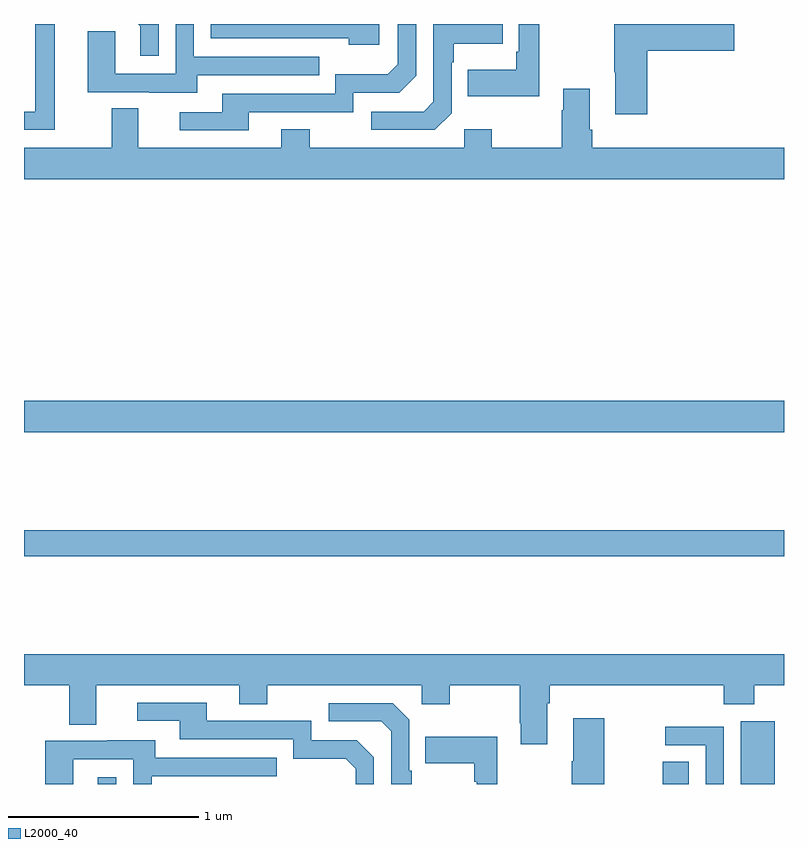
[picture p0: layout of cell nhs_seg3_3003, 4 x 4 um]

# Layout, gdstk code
import gdstk
lib = gdstk.Library(unit=1e-6, precision=1e-09)
def R(c, l, rs):  # rectangles x0, y0, x1, y1
    for r in rs: c.add(gdstk.rectangle(r[:2], r[2:], *l))
def P(c, l, *ps):  # polygons
    for p in ps: c.add(gdstk.Polygon(p, *l))
L2000_40 = (2000, 40)

nhs_seg3_3003 = lib.new_cell('nhs_seg3_3003')
R(nhs_seg3_3003, L2000_40, [(267.389,696.4,267.486,696.436), (270.361,696.4,270.499,696.518), (270.773,696.4,270.952,696.73), (267,697.6,271,697.736), (267,698.252,271,698.416)])
P(nhs_seg3_3003, L2000_40, [(267.708,700.4),(267.6,700.4),(267.611,700.389),(267.611,700.233),(267.708,700.233)],
  [(267.163,700.4),(267.059,700.4),(267.059,699.939),(267,699.939),(267,699.843),(267.163,699.843)],
  [(270.281,700.259),(270.739,700.259),(270.739,700.4),(270.106,700.4),(270.106,700.147),(270.113,700.147),(270.113,699.924),(270.281,699.924)],
  [(268.183,699.936),(268.734,699.936),(268.734,700.038),(268.974,700.038),(269.064,700.128),(269.064,700.4),(268.968,700.4),(268.968,700.188),(268.915,700.135),(268.638,700.135),(268.638,700.032),(268.043,700.032),(268.043,699.936),(267.819,699.936),(267.819,699.84),(268.183,699.84)],
  [(269.25,699.93),(269.25,700.199),(269.263,700.199),(269.263,700.295),(269.519,700.295),(269.519,700.4),(269.154,700.4),(269.154,699.99),(269.103,699.939),(268.827,699.939),(268.827,699.843),(269.163,699.843)],
  [(269.713,700.4),(269.604,700.4),(269.604,700.255),(269.592,700.255),(269.592,700.159),(269.335,700.159),(269.335,700.019),(269.713,700.019)],
  [(268.87,700.4),(267.984,700.4),(267.984,700.326),(268.709,700.326),(268.709,700.292),(268.87,700.292)],
  [(267.913,700.131),(268.553,700.131),(268.553,700.227),(267.894,700.227),(267.894,700.4),(267.798,700.4),(267.798,700.137),(267.48,700.137),(267.48,700.361),(267.335,700.361),(267.335,700.041),(267.659,700.041),(267.659,700.037),(267.913,700.037)],
  [(271,699.748),(269.99,699.748),(269.99,699.844),(269.977,699.844),(269.977,700.06),(269.837,700.06),(269.837,699.947),(269.83,699.947),(269.83,699.748),(269.463,699.748),(269.463,699.847),(269.316,699.847),(269.316,699.748),(268.503,699.748),(268.503,699.847),(268.355,699.847),(268.355,699.748),(267.601,699.748),(267.601,699.956),(267.461,699.956),(267.461,699.748),(267,699.748),(267,699.584),(271,699.584)],
  [(269.755,696.824),(269.768,696.824),(269.768,696.92),(270.683,696.92),(270.683,696.821),(270.843,696.821),(270.843,696.92),(271,696.92),(271,697.084),(267,697.084),(267,696.92),(267.239,696.92),(267.239,696.712),(267.379,696.712),(267.379,696.92),(268.133,696.92),(268.133,696.821),(268.281,696.821),(268.281,696.92),(269.094,696.92),(269.094,696.821),(269.241,696.821),(269.241,696.92),(269.608,696.92),(269.608,696.721),(269.615,696.721),(269.615,696.609),(269.755,696.609)],
  [(268.842,696.54),(268.752,696.63),(268.512,696.63),(268.512,696.732),(267.961,696.732),(267.961,696.828),(267.597,696.828),(267.597,696.732),(267.821,696.732),(267.821,696.636),(268.416,696.636),(268.416,696.533),(268.693,696.533),(268.746,696.48),(268.746,696.4),(268.842,696.4)],
  [(269.041,696.469),(269.028,696.469),(269.028,696.738),(268.941,696.825),(268.605,696.825),(268.605,696.729),(268.881,696.729),(268.932,696.678),(268.932,696.4),(269.041,696.4)],
  [(270.054,696.745),(269.891,696.745),(269.891,696.521),(269.884,696.521),(269.884,696.4),(270.054,696.4)],
  [(270.684,696.702),(270.375,696.702),(270.375,696.603),(270.588,696.603),(270.588,696.4),(270.684,696.4)],
  [(269.491,696.649),(269.113,696.649),(269.113,696.509),(269.37,696.509),(269.37,696.413),(269.382,696.413),(269.382,696.4),(269.491,696.4)],
  [(267.258,696.531),(267.576,696.531),(267.576,696.4),(267.672,696.4),(267.672,696.441),(268.331,696.441),(268.331,696.537),(267.691,696.537),(267.691,696.631),(267.437,696.631),(267.437,696.627),(267.113,696.627),(267.113,696.4),(267.258,696.4)])

lib.write_gds('nhs_seg3_3003.gds')
